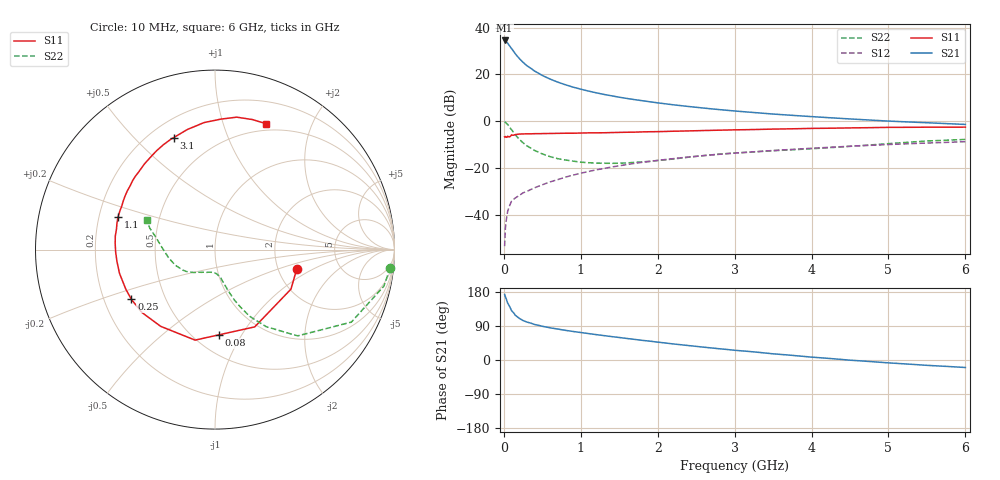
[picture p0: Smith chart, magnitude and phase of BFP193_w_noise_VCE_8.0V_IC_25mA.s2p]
! Infineon Technologies  Discrete & RF Semiconductors
! BFP193
! VCE =  8.0 V,  IC =  25 mA
! Common Emitter S-Parameters:  Jan 2017
# GHz  S  MA  R  50
!  f  S11  S21  S12  S22
! GHz  MAG  ANG  MAG  ANG  MAG  ANG  MAG  ANG
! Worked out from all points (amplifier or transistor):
!   77 points, 10 MHz to 6 GHz, reference 50 ohm
!   highest |S21| = 34.5 dB at 10 MHz (marker M1)
!   |S21| within 3 dB of that: start of sweep to 89.86 MHz
!   unconditionally stable (mu >= 1): 828.9 MHz to 2.455 GHz
!   at 130 MHz: K = 0.42, MSG = 31.4 dB, |S12| = -33.1 dB
!   at 2.2 GHz: K = 1.01, MAG = 10.8 dB, |S12| = -15.9 dB
!   at 6 GHz: K = 0.90, MSG = 3.7 dB, |S12| = -8.6 dB
!   lowest NFmin = 1.12 dB at 450 MHz
!   S11 on the Smith chart (normalised r, x): 10 MHz: 2.53, -0.71; 80 MHz: 0.66, -0.80; 250 MHz: 0.32, -0.25; 1.1 GHz: 0.28, +0.15; 3.1 GHz: 0.29, +0.66; 6 GHz: 0.42, +1.39
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0.01  0.4682 -13.6  53.09 173.0  0.0022 88.8  0.982 -5.9
0.02  0.4771 -27.5  52.82 166.9  0.0053 87.7  0.9626 -12.2
0.05  0.4841 -62.8  46.62 149.9  0.0122 67.7  0.8606 -28.0
0.08  0.4753 -87.3  39.54 139.3  0.0168 61.9  0.7344 -37.8
0.1  0.5163 -102.4  35.81 130.1  0.02 59.5  0.6658 -46.2
0.15  0.5238 -125.3  27.48 117.9  0.0235 54.3  0.5158 -56.4
0.2  0.5372 -139.3  21.98 110.0  0.0264 52.6  0.418 -62.6
0.25  0.5421 -149.3  18.14 104.1  0.0301 53.3  0.3505 -66.1
0.3  0.5436 -156.1  15.38 100.1  0.0323 54.2  0.3019 -68.9
0.4  0.5483 -166.0  11.81 93.7  0.0386 57.0  0.2403 -72.2
0.5  0.5504 -173.3  9.531 89.0  0.0447 59.1  0.2033 -74.6
0.6  0.5539 -178.9  8.009 85.0  0.0514 60.3  0.178 -76.9
0.7  0.5571 176.5  6.884 81.7  0.0575 61.5  0.1609 -78.5
0.9  0.5606 168.4  5.378 75.3  0.0717 62.4  0.1427 -83.3
1.1  0.5703 161.3  4.436 69.8  0.0856 62.2  0.1321 -88.5
1.5  0.5837 148.9  3.281 59.4  0.1134 59.6  0.1288 -102.2
2.1  0.6114 132.2  2.374 44.9  0.1544 54.0  0.1522 -123.9
2.6  0.64 120.5  1.923 33.8  0.187 48.5  0.1874 -138.1
3.1  0.6652 110.2  1.619 24.0  0.2167 42.8  0.2169 -150.0
4.1  0.7128 93.4  1.237 6.1  0.2735 31.8  0.2679 -172.6
5.1  0.7481 79.4  1 -8.8  0.3267 20.7  0.3451 166.8
6  0.7567 68.1  0.863 -19.8  0.3696 10.7  0.4136 156.7
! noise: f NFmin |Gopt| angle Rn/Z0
0.45  1.12  0.3  -176  0.36
0.9  1.19  0.37  -175  0.07
1.9  1.81  0.57  -138  0.16
2.4  2.15  0.62  -122  0.35
